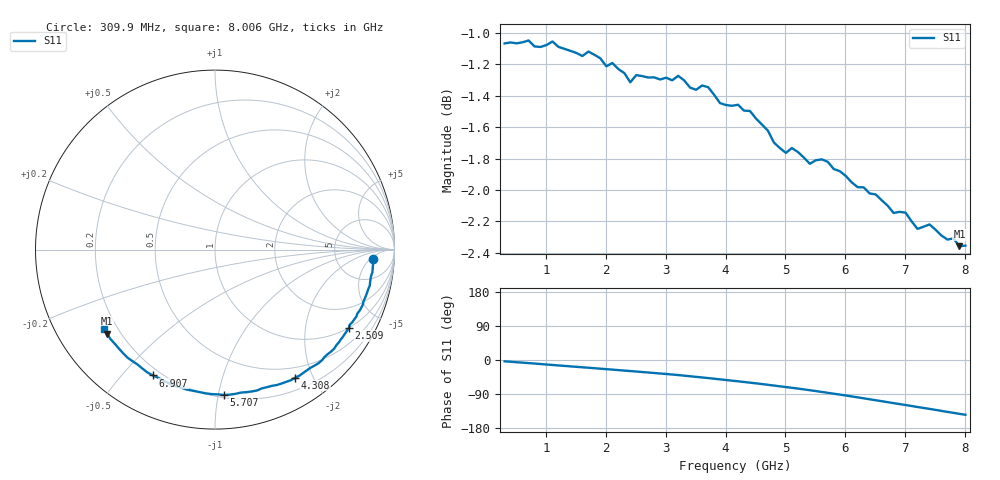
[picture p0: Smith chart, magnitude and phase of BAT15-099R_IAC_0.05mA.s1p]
! Infineon Technologies  Discrete & RF Semiconductors
! BAT15-099R
! IAC = 0.05 mA
! One-Port S-Parameters
# Hz  S  MA  R  50
!f  S11
!Hz  Mag  Ang
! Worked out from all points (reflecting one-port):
!   78 points, 309.9 MHz to 8.006 GHz, reference 50 ohm
!   lowest |S11| = -2.4 dB at 7.906 GHz (marker M1), VSWR 7.42, Z = 7.52 - j16.8 ohm
!   phase of S11 starts at -4 deg and turns -141 deg over the sweep
!   S11 on the Smith chart (normalised r, x): 309.9 MHz: 13, -7; 2.509 GHz: 0.99, -3.42; 4.308 GHz: 0.36, -1.75; 5.707 GHz: 0.22, -1.04; 6.907 GHz: 0.17, -0.61; 8.006 GHz: 0.15, -0.31
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3.0985e8  0.8842 -3.6
7.0965e8  0.8861 -8.2
1.10945e9  0.8855 -13.0
1.30935e9  0.8807 -15.6
1.70915e9  0.879 -20.4
2.009e9  0.8695 -24.2
2.10895e9  0.8716 -25.3
2.30885e9  0.8653 -27.9
2.4088e9  0.8594 -29.2
2.50875e9  0.864 -30.4
3.2084e9  0.8635 -39.7
3.70815e9  0.8564 -47.7
4.2079e9  0.8454 -56.2
4.30785e9  0.8418 -58.0
4.6077e9  0.8333 -63.5
5.0075e9  0.8162 -71.4
5.2074e9  0.8167 -75.4
5.70715e9  0.8109 -86.6
5.90705e9  0.8054 -91.3
6.10695e9  0.7988 -96.1
6.30685e9  0.7959 -101.1
6.50675e9  0.7917 -106.2
6.90655e9  0.7817 -116.3
7.10645e9  0.7764 -121.4
7.4063e9  0.7745 -129.0
7.8061e9  0.7667 -139.4
7.90605e9  0.7623 -142.2
8.006e9  0.7626 -144.5
